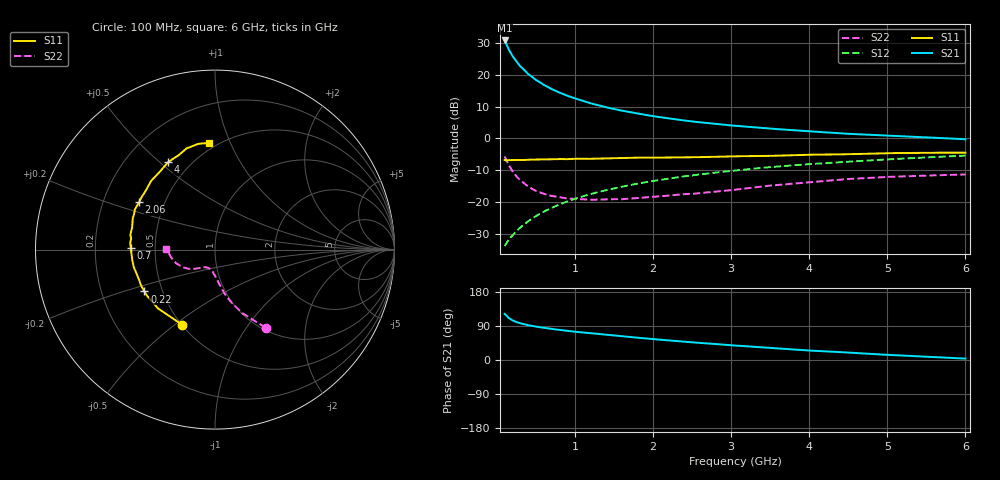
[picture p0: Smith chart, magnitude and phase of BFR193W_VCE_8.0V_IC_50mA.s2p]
! Infineon Technologies  Discrete & RF Semiconductors
! BFR193W
! VCE =  8.0 V,  IC =  50 mA
! Common Emitter S-Parameters:  Nov 2015
# GHz  S  MA  R  50
!  f  S11  S21  S12  S22
! GHz  MAG  ANG  MAG  ANG  MAG  ANG  MAG  ANG
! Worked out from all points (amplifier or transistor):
!   192 points, 100 MHz to 6 GHz, reference 50 ohm
!   highest |S21| = 30.8 dB at 100 MHz (marker M1)
!   |S21| within 3 dB of that: start of sweep to 157.1 MHz
!   unconditionally stable (mu >= 1): 586.7 MHz to 2.64 GHz
!   at 440 MHz: K = 0.96, MSG = 22.5 dB, |S12| = -25.4 dB
!   at 1.7 GHz: K = 1.02, MAG = 10.6 dB, |S12| = -14.7 dB
!   at 6 GHz: K = 0.92, MSG = 2.6 dB, |S12| = -5.4 dB
!   S11 on the Smith chart (normalised r, x): 100 MHz: 0.50, -0.53; 220 MHz: 0.40, -0.23; 700 MHz: 0.36, +0.01; 2.06 GHz: 0.36, +0.25; 4 GHz: 0.38, +0.54; 6 GHz: 0.45, +0.84
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0.1  0.457 -113.6  34.64 121.6  0.0202 60.1  0.5184 -57.1
0.15  0.4565 -134.2  25.33 111.1  0.0253 60.9  0.3838 -66.9
0.2  0.4581 -146.1  19.77 104.5  0.0297 62.5  0.3057 -73.0
0.22  0.4571 -149.3  18.3 103.0  0.0317 63.5  0.2842 -74.7
0.24  0.4574 -152.4  16.84 101.1  0.0337 64.3  0.2629 -76.6
0.26  0.4572 -155.1  15.61 99.5  0.0357 65.0  0.2458 -78.2
0.3  0.4554 -159.4  13.6 96.7  0.0396 66.2  0.2197 -80.3
0.4  0.4629 -167.9  10.32 91.8  0.0495 68.8  0.1748 -85.2
0.5  0.465 -173.2  8.317 88.1  0.0598 70.4  0.1493 -88.9
0.6  0.4662 -177.7  6.966 84.9  0.0704 71.1  0.1346 -93.0
0.7  0.469 179.0  5.973 82.0  0.0806 71.6  0.1247 -95.8
0.9  0.4713 172.5  4.681 76.9  0.1018 71.7  0.1135 -101.2
1.1  0.478 167.6  3.903 72.7  0.1226 70.8  0.1102 -106.5
1.2  0.4779 165.1  3.564 70.5  0.1331 70.4  0.1085 -109.5
1.5  0.4904 159.0  2.893 64.5  0.1632 68.7  0.111 -116.2
2.06  0.4986 148.0  2.182 54.1  0.2196 64.6  0.1224 -124.9
2.08  0.499 147.6  2.164 53.8  0.2216 64.4  0.1229 -125.2
3.1  0.5237 131.4  1.561 37.6  0.3168 55.9  0.1587 -137.7
4  0.5534 118.0  1.291 25.0  0.394 48.1  0.2042 -151.2
4.1  0.5547 116.6  1.268 24.0  0.4011 47.2  0.2088 -153.3
5.1  0.5875 104.2  1.096 12.7  0.4744 39.1  0.2499 -171.0
6  0.5957 93.1  0.969 3.7  0.5362 31.8  0.2705 179.2
